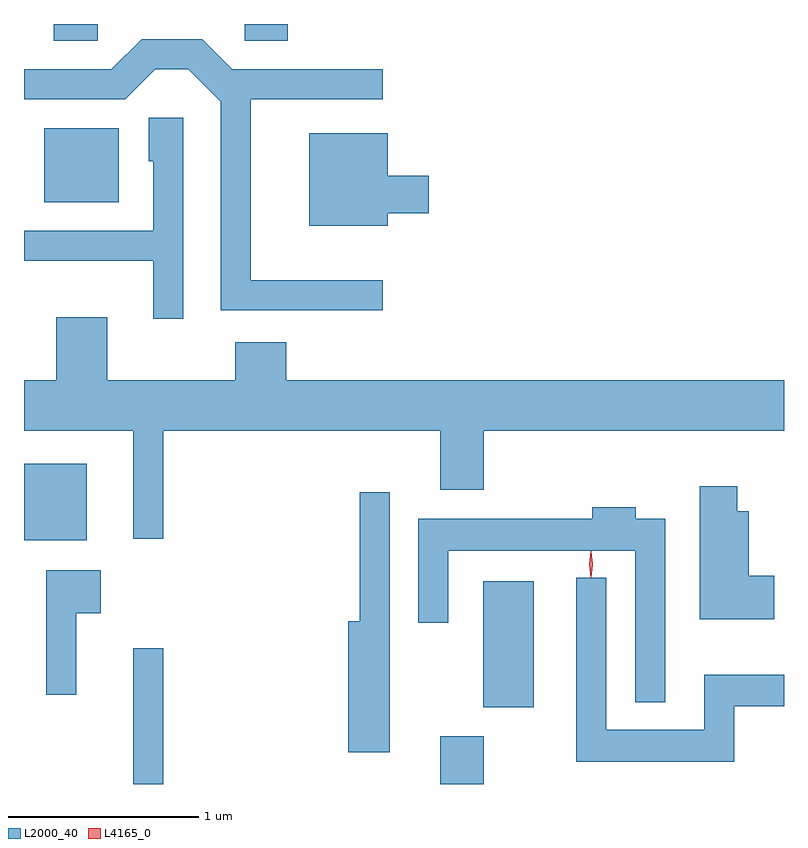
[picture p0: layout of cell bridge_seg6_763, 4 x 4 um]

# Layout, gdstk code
import gdstk
lib = gdstk.Library(unit=1e-6, precision=1e-09)
def R(c, l, rs):  # rectangles x0, y0, x1, y1
    for r in rs: c.add(gdstk.rectangle(r[:2], r[2:], *l))
def P(c, l, *ps):  # polygons
    for p in ps: c.add(gdstk.Polygon(p, *l))
L2000_40 = (2000, 40)
L4165_0 = (4165, 0)

bridge_seg6_763 = lib.new_cell('bridge_seg6_763')
R(bridge_seg6_763, L2000_40, [(485.376,1545.958,485.534,1546.673), (486.991,1545.958,487.219,1546.209), (487.216,1546.361,487.484,1547.024), (484.8,1547.241,485.129,1547.644), (484.906,1549.021,485.299,1549.409), (484.956,1549.871,485.189,1549.958), (485.961,1549.871,486.189,1549.958)])
P(bridge_seg6_763, L2000_40, [(486.688,1548.609),(485.994,1548.609),(485.994,1549.561),(486.688,1549.561),(486.688,1549.719),(485.897,1549.719),(485.737,1549.879),(485.419,1549.879),(485.259,1549.719),(484.8,1549.719),(484.8,1549.561),(485.332,1549.561),(485.492,1549.721),(485.664,1549.721),(485.836,1549.549),(485.836,1548.451),(486.688,1548.451)],
  [(485.639,1549.464),(485.456,1549.464),(485.456,1549.236),(485.481,1549.236),(485.481,1548.869),(484.8,1548.869),(484.8,1548.711),(485.481,1548.711),(485.481,1548.408),(485.639,1548.408)],
  [(486.714,1548.961),(486.929,1548.961),(486.929,1549.159),(486.714,1549.159),(486.714,1549.384),(486.301,1549.384),(486.301,1548.896),(486.714,1548.896)],
  [(485.534,1547.816),(486.991,1547.816),(486.991,1547.506),(487.219,1547.506),(487.219,1547.816),(488.8,1547.816),(488.8,1548.084),(486.179,1548.084),(486.179,1548.284),(485.911,1548.284),(485.911,1548.084),(485.239,1548.084),(485.239,1548.414),(484.971,1548.414),(484.971,1548.084),(484.8,1548.084),(484.8,1547.816),(485.376,1547.816),(485.376,1547.248),(485.534,1547.248)],
  [(488.749,1547.054),(488.614,1547.054),(488.614,1547.394),(488.554,1547.394),(488.554,1547.524),(488.356,1547.524),(488.356,1546.826),(488.749,1546.826)],
  [(486.724,1547.493),(486.566,1547.493),(486.566,1546.814),(486.506,1546.814),(486.506,1546.126),(486.724,1546.126)],
  [(488.174,1547.354),(488.019,1547.354),(488.019,1547.414),(487.791,1547.414),(487.791,1547.354),(486.876,1547.354),(486.876,1546.808),(487.034,1546.808),(487.034,1547.186),(488.016,1547.186),(488.016,1546.388),(488.174,1546.388)],
  [(485.074,1546.856),(485.204,1546.856),(485.204,1547.084),(484.916,1547.084),(484.916,1546.428),(485.074,1546.428)],
  [(488.539,1546.366),(488.8,1546.366),(488.8,1546.534),(488.381,1546.534),(488.381,1546.244),(487.864,1546.244),(487.864,1547.043),(487.706,1547.043),(487.706,1546.076),(488.539,1546.076)])
P(bridge_seg6_763, L4165_0, [(487.784,1547.044),(487.784,1547.044),(487.774,1547.113),(487.784,1547.182),(487.784,1547.183),(487.785,1547.182),(487.794,1547.113),(487.785,1547.044)],
  [(487.784,1547.047),(487.784,1547.048),(487.774,1547.114),(487.784,1547.18),(487.784,1547.18),(487.785,1547.18),(487.794,1547.114),(487.785,1547.048)])

lib.write_gds('bridge_seg6_763.gds')
